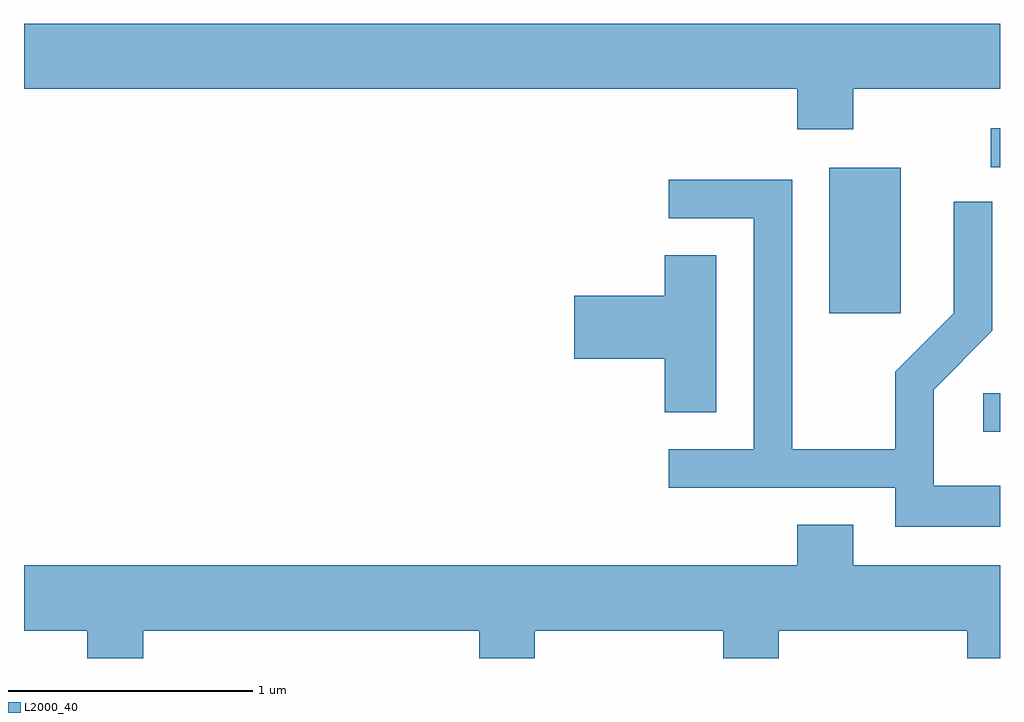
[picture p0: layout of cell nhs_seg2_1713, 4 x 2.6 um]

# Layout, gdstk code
import gdstk
lib = gdstk.Library(unit=1e-6, precision=1e-09)
def R(c, l, rs):  # rectangles x0, y0, x1, y1
    for r in rs: c.add(gdstk.rectangle(r[:2], r[2:], *l))
def P(c, l, *ps):  # polygons
    for p in ps: c.add(gdstk.Polygon(p, *l))
L2000_40 = (2000, 40)

nhs_seg2_1713 = lib.new_cell('nhs_seg2_1713')
R(nhs_seg2_1713, L2000_40, [(239.543,1004.731,239.611,1004.889), (238.911,1005.216,239.204,1005.814), (239.573,1005.816,239.611,1005.974)])
P(nhs_seg2_1713, L2000_40, [(239.009,1006.136),(239.611,1006.136),(239.611,1006.404),(235.611,1006.404),(235.611,1006.136),(238.781,1006.136),(238.781,1005.971),(239.009,1005.971)],
  [(239.611,1004.509),(239.339,1004.509),(239.339,1004.904),(239.579,1005.144),(239.579,1005.673),(239.421,1005.673),(239.421,1005.217),(239.181,1004.977),(239.181,1004.659),(238.759,1004.659),(238.759,1005.764),(238.253,1005.764),(238.253,1005.606),(238.601,1005.606),(238.601,1004.659),(238.253,1004.659),(238.253,1004.501),(239.181,1004.501),(239.181,1004.341),(239.611,1004.341)],
  [(238.449,1005.454),(238.236,1005.454),(238.236,1005.289),(237.866,1005.289),(237.866,1005.031),(238.236,1005.031),(238.236,1004.811),(238.449,1004.811)],
  [(236.099,1003.916),(237.476,1003.916),(237.476,1003.802),(237.704,1003.802),(237.704,1003.916),(238.476,1003.916),(238.476,1003.802),(238.704,1003.802),(238.704,1003.916),(239.476,1003.916),(239.476,1003.802),(239.611,1003.802),(239.611,1004.184),(239.009,1004.184),(239.009,1004.349),(238.781,1004.349),(238.781,1004.184),(235.611,1004.184),(235.611,1003.916),(235.871,1003.916),(235.871,1003.802),(236.099,1003.802)])

lib.write_gds('nhs_seg2_1713.gds')
